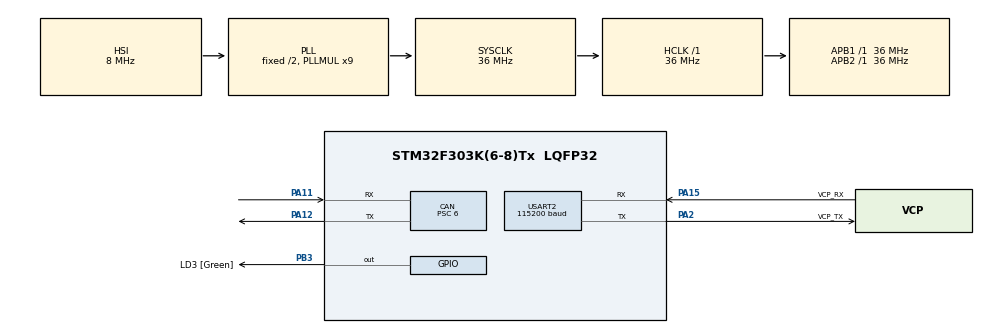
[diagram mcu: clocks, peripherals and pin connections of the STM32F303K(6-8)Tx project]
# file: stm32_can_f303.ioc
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CAN.BS1=CAN_BS1_10TQ
CAN.CalculateTimeQuantum=166.66666666666669
CAN.Mode=CAN_MODE_SILENT_LOOPBACK
CAN.Prescaler=6
Mcu.Family=STM32F3
Mcu.Name=STM32F303K(6-8)Tx
Mcu.Package=LQFP32
NVIC.CAN_RX0_IRQn=true\:0\:0\:false\:false\:true\:true\:true
NVIC.CAN_TX_IRQn=true\:0\:0\:false\:false\:true\:true\:true
NVIC.PriorityGroup=NVIC_PRIORITYGROUP_4
NVIC.USART2_IRQn=true\:0\:0\:false\:false\:true\:true\:true
PA11.GPIO_PuPd=GPIO_PULLUP
PA11.Mode=Master
PA11.Signal=CAN_RX
PA12.Mode=Master
PA12.Signal=CAN_TX
PA13.GPIO_Label=SWDIO
PA13.Mode=Serial_Wire
PA13.Signal=SYS_JTMS-SWDIO
PA14.GPIO_Label=SWCLK
PA14.Mode=Serial_Wire
PA14.Signal=SYS_JTCK-SWCLK
PA15.GPIO_Label=VCP_RX
PA15.Mode=Asynchronous
PA15.Signal=USART2_RX
PA2.GPIO_Label=VCP_TX
PA2.Mode=Asynchronous
PA2.Signal=USART2_TX
PB3.GPIO_Label=LD3 [Green]
PB3.Signal=GPIO_Output
PF0\ /\ OSC_IN.GPIO_Label=MCO
PF0\ /\ OSC_IN.Mode=HSE-External-Clock-Source
PF0\ /\ OSC_IN.Signal=RCC_OSC_IN
ProjectManager.HeapSize=0x200
ProjectManager.StackSize=0x400
ProjectManager.TargetToolchain=SW4STM32
RCC.AHBFreq_Value=36000000
RCC.APB1Freq_Value=36000000
RCC.APB1TimFreq_Value=36000000
RCC.APB2Freq_Value=36000000
RCC.APB2TimFreq_Value=36000000
RCC.CortexFreq_Value=36000000
RCC.HCLKFreq_Value=36000000
RCC.HSE_VALUE=8000000
RCC.HSI_VALUE=8000000
RCC.PLLMUL=RCC_PLL_MUL9
RCC.SYSCLKFreq_VALUE=36000000
RCC.SYSCLKSourceVirtual=RCC_SYSCLKSOURCE_PLLCLK
USART2.BaudRate=115200
USART2.VirtualMode-Asynchronous=VM_ASYNC
board=NUCLEO-F303K8

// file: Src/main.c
/* USER CODE BEGIN Header */
/**
  ******************************************************************************
  * @file           : main.c
  * @brief          : Main program body
  ******************************************************************************
  * @attention
  *
  * <h2><center>&copy; Copyright (c) 2019 STMicroelectronics.
  * All rights reserved.</center></h2>
  *
  * This software component is licensed by ST under BSD 3-Clause license,
  * the "License"; You may not use this file except in compliance with the
  * License. You may obtain a copy of the License at:
  *                        opensource.org/licenses/BSD-3-Clause
  *
  ******************************************************************************
  */
/* USER CODE END Header */

#include "main.h"

CAN_HandleTypeDef hcan;

UART_HandleTypeDef huart2;

/* USER CODE BEGIN PV */
CAN_FilterTypeDef sFilterConfig;
CAN_TxHeaderTypeDef TxHeader;
CAN_RxHeaderTypeDef RxHeader;
uint8_t TxData[8];
uint8_t RxData[8];
uint32_t TxMailbox;
/* USER CODE END PV */

void SystemClock_Config(void);
static void MX_GPIO_Init(void);
static void MX_CAN_Init(void);
static void MX_USART2_UART_Init(void);

/* USER CODE BEGIN 0 */
uint8_t uart_data;
char tx_data[]="get_data\r\n";
int flag = 1;
/* USER CODE END 0 */

int main(void)
{

  /* MCU Configuration--------------------------------------------------------*/

  /* Reset of all peripherals, Initializes the Flash interface and the Systick. */
  HAL_Init();

  /* Configure the system clock */
  SystemClock_Config();

  /* Initialize all configured peripherals */
  MX_GPIO_Init();
  MX_CAN_Init();
  MX_USART2_UART_Init();
  /* USER CODE BEGIN 2 */
  sFilterConfig.FilterBank = 0;
  sFilterConfig.FilterMode = CAN_FILTERMODE_IDMASK;
  sFilterConfig.FilterScale = CAN_FILTERSCALE_32BIT;
  sFilterConfig.FilterIdHigh = 0x0000;
  sFilterConfig.FilterIdLow = 0x0000;
  sFilterConfig.FilterMaskIdHigh = 0x0000;
  sFilterConfig.FilterMaskIdLow = 0x0000;
  sFilterConfig.FilterFIFOAssignment = CAN_RX_FIFO0;
  sFilterConfig.FilterActivation=ENABLE;
  sFilterConfig.SlaveStartFilterBank=14;
  if(HAL_CAN_ConfigFilter(&hcan,&sFilterConfig) != HAL_OK)
  {
    Error_Handler();
  }
  if(HAL_CAN_Start(&hcan)!=HAL_OK)
  {
    Error_Handler();
  }

  if(HAL_CAN_ActivateNotification(&hcan,CAN_IT_RX_FIFO0_MSG_PENDING | CAN_IT_TX_MAILBOX_EMPTY) != HAL_OK)
  {
	  Error_Handler();
  }
  TxHeader.StdId=0x321;
  TxHeader.ExtId=0x01;
  TxHeader.RTR = CAN_RTR_DATA;
  TxHeader.IDE = CAN_ID_STD;
  TxHeader.DLC = 2;
  TxHeader.TransmitGlobalTime = DISABLE;
  TxData[0] = 'A';
  TxData[1] = 'B';
  int i=0;
  /* USER CODE END 2 */

  /* Infinite loop */
  while (1)
  {

    /* USER CODE BEGIN 3 */
	 for(; i < 5; i++){
	 HAL_CAN_AddTxMessage(&hcan,&TxHeader,TxData,&TxMailbox);
	 HAL_Delay(1000);
	 }
  }
  /* USER CODE END 3 */
}

void SystemClock_Config(void)
{
  RCC_OscInitTypeDef RCC_OscInitStruct = {0};
  RCC_ClkInitTypeDef RCC_ClkInitStruct = {0};

  /** Initializes the CPU, AHB and APB busses clocks
  */
  RCC_OscInitStruct.OscillatorType = RCC_OSCILLATORTYPE_HSI;
  RCC_OscInitStruct.HSIState = RCC_HSI_ON;
  RCC_OscInitStruct.HSICalibrationValue = RCC_HSICALIBRATION_DEFAULT;
  RCC_OscInitStruct.PLL.PLLState = RCC_PLL_ON;
  RCC_OscInitStruct.PLL.PLLSource = RCC_PLLSOURCE_HSI;
  RCC_OscInitStruct.PLL.PLLMUL = RCC_PLL_MUL9;
  if (HAL_RCC_OscConfig(&RCC_OscInitStruct) != HAL_OK)
  {
    Error_Handler();
  }
  /** Initializes the CPU, AHB and APB busses clocks
  */
  RCC_ClkInitStruct.ClockType = RCC_CLOCKTYPE_HCLK|RCC_CLOCKTYPE_SYSCLK
                              |RCC_CLOCKTYPE_PCLK1|RCC_CLOCKTYPE_PCLK2;
  RCC_ClkInitStruct.SYSCLKSource = RCC_SYSCLKSOURCE_PLLCLK;
  RCC_ClkInitStruct.AHBCLKDivider = RCC_SYSCLK_DIV1;
  RCC_ClkInitStruct.APB1CLKDivider = RCC_HCLK_DIV1;
  RCC_ClkInitStruct.APB2CLKDivider = RCC_HCLK_DIV1;

  if (HAL_RCC_ClockConfig(&RCC_ClkInitStruct, FLASH_LATENCY_1) != HAL_OK)
  {
    Error_Handler();
  }
}

static void MX_CAN_Init(void)
{

  hcan.Instance = CAN;
  hcan.Init.Prescaler = 6;
  hcan.Init.Mode = CAN_MODE_SILENT_LOOPBACK;
  hcan.Init.SyncJumpWidth = CAN_SJW_1TQ;
  hcan.Init.TimeSeg1 = CAN_BS1_10TQ;
  hcan.Init.TimeSeg2 = CAN_BS2_1TQ;
  hcan.Init.TimeTriggeredMode = DISABLE;
  hcan.Init.AutoBusOff = DISABLE;
  hcan.Init.AutoWakeUp = DISABLE;
  hcan.Init.AutoRetransmission = DISABLE;
  hcan.Init.ReceiveFifoLocked = DISABLE;
  hcan.Init.TransmitFifoPriority = DISABLE;
  if (HAL_CAN_Init(&hcan) != HAL_OK)
  {
    Error_Handler();
  }

}

static void MX_USART2_UART_Init(void)
{

  huart2.Instance = USART2;
  huart2.Init.BaudRate = 115200;
  huart2.Init.WordLength = UART_WORDLENGTH_8B;
  huart2.Init.StopBits = UART_STOPBITS_1;
  huart2.Init.Parity = UART_PARITY_NONE;
  huart2.Init.Mode = UART_MODE_TX_RX;
  huart2.Init.HwFlowCtl = UART_HWCONTROL_NONE;
  huart2.Init.OverSampling = UART_OVERSAMPLING_16;
  huart2.Init.OneBitSampling = UART_ONE_BIT_SAMPLE_DISABLE;
  huart2.AdvancedInit.AdvFeatureInit = UART_ADVFEATURE_NO_INIT;
  if (HAL_UART_Init(&huart2) != HAL_OK)
  {
    Error_Handler();
  }

}

static void MX_GPIO_Init(void)
{
  GPIO_InitTypeDef GPIO_InitStruct = {0};

  /* GPIO Ports Clock Enable */
  __HAL_RCC_GPIOF_CLK_ENABLE();
  __HAL_RCC_GPIOA_CLK_ENABLE();
  __HAL_RCC_GPIOB_CLK_ENABLE();

  /*Configure GPIO pin Output Level */
  HAL_GPIO_WritePin(LD3_GPIO_Port, LD3_Pin, GPIO_PIN_RESET);

  /*Configure GPIO pin : LD3_Pin */
  GPIO_InitStruct.Pin = LD3_Pin;
  GPIO_InitStruct.Mode = GPIO_MODE_OUTPUT_PP;
  GPIO_InitStruct.Pull = GPIO_NOPULL;
  GPIO_InitStruct.Speed = GPIO_SPEED_FREQ_LOW;
  HAL_GPIO_Init(LD3_GPIO_Port, &GPIO_InitStruct);

}

/* USER CODE BEGIN 4 */
void HAL_CAN_TxMailbox0CompleteCallack(CAN_HandleTypeDef *hcan)
{
	//HAL_GPIO_TogglePin(GPIOB,GPIO_PIN_3);
	//HAL_GPIO_WritePin(GPIOB,GPIO_PIN_3,1);
	  HAL_GPIO_WritePin(GPIOB,GPIO_PIN_3,1);
	 // HAL_Delay(1000);
	 // HAL_GPIO_WritePin(GPIOB,GPIO_PIN_3,0);
}

void HAL_CAN_RxFifo0MsgPendingCallback(CAN_HandleTypeDef *hcan_)
{
  HAL_CAN_GetRxMessage(&hcan,CAN_RX_FIFO0,&RxHeader,RxData);
  HAL_UART_Transmit(&huart2,RxData,2,0xFFFF);
  flag *= -1;
  if(flag >0){
	  HAL_GPIO_WritePin(GPIOB,GPIO_PIN_3,1);
  }else{
	  HAL_GPIO_WritePin(GPIOB,GPIO_PIN_3,0);
  }

}
/* USER CODE END 4 */

void Error_Handler(void)
{
}

/************************ (C) COPYRIGHT STMicroelectronics *****END OF FILE****/
